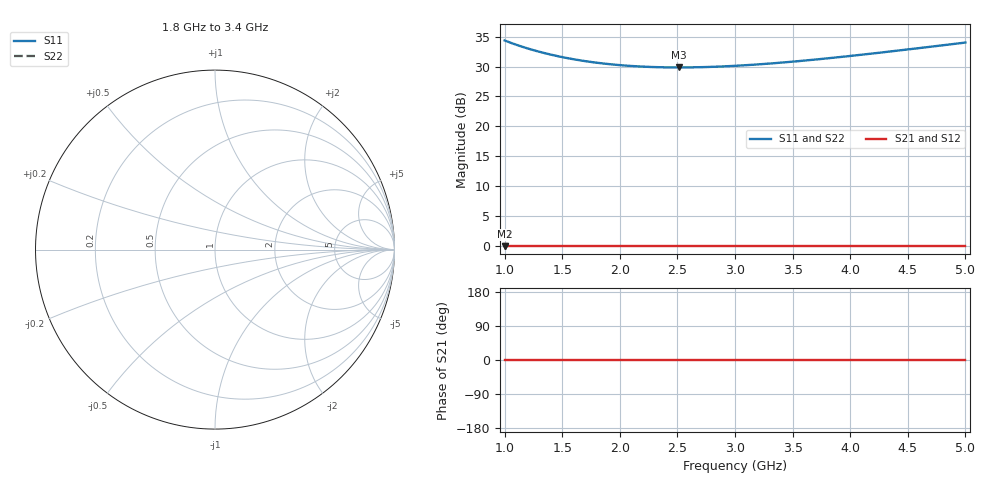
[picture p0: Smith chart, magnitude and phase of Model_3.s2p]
# GHZ S RI R 50
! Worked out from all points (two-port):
!   401 points, 1 GHz to 5 GHz, reference 50 ohm
!   highest |S21| = 0.00 dB at 1 GHz (marker M1); lowest = 0.0 dB at 1 GHz (marker M2)
!   |S21| within 3 dB of the highest: start of sweep to end of sweep
!   lowest |S11| = 29.8 dB at 2.51 GHz (marker M3)
!   |S11| at or under -10 dB: nowhere
!   |S22| runs from 29.8 to 34.4 dB; largest |S21 - S12| = 0
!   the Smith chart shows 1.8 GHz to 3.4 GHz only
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1  52.2 0  1 0  1 0  52.2 0
1.02  51.31 0  1 0  1 0  51.31 0
1.15  46.35 0  1 0  1 0  46.35 0
1.22  44.17 0  1 0  1 0  44.17 0
1.3  42.03 0  1 0  1 0  42.03 0
1.38  40.19 0  1 0  1 0  40.19 0
1.47  38.42 0  1 0  1 0  38.42 0
1.57  36.78 0  1 0  1 0  36.78 0
1.67  35.42 0  1 0  1 0  35.42 0
1.82  33.83 0  1 0  1 0  33.83 0
1.98  32.6 0  1 0  1 0  32.6 0
2.15  31.73 0  1 0  1 0  31.73 0
2.34  31.21 0  1 0  1 0  31.21 0
2.51  31.06 0  1 0  1 0  31.06 0
2.75  31.31 0  1 0  1 0  31.31 0
3  32.04 0  1 0  1 0  32.04 0
3.33  33.64 0  1 0  1 0  33.64 0
3.67  35.94 0  1 0  1 0  35.94 0
4  38.74 0  1 0  1 0  38.74 0
4.34  42.14 0  1 0  1 0  42.14 0
4.64  45.55 0  1 0  1 0  45.55 0
5  50.12 0  1 0  1 0  50.12 0
